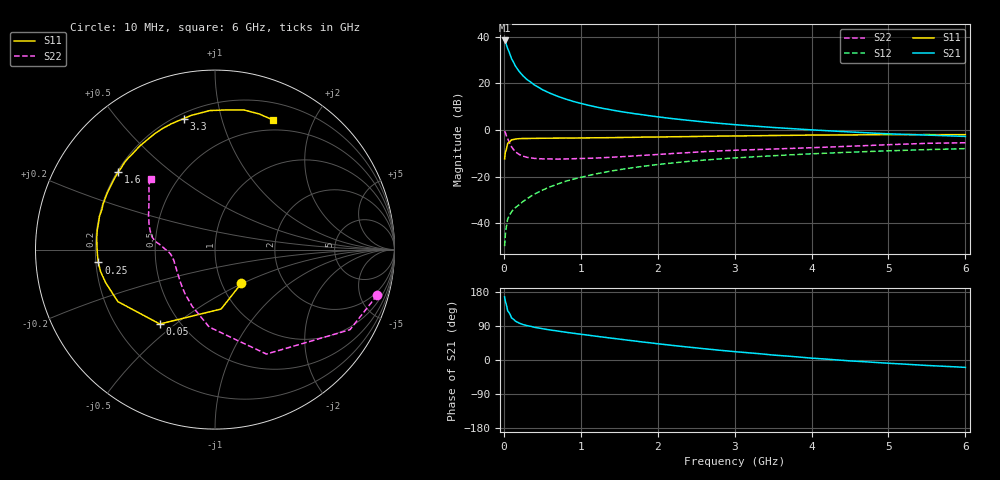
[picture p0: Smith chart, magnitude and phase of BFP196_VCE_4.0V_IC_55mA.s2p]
! Infineon Technologies  Discrete & RF Semiconductors
! BFP196
! VCE =  4.0 V,  IC =  55 mA
! Common Emitter S-Parameters:  Jan 2017
# GHz  S  MA  R  50
!  f  S11  S21  S12  S22
! GHz  MAG  ANG  MAG  ANG  MAG  ANG  MAG  ANG
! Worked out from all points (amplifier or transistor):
!   77 points, 10 MHz to 6 GHz, reference 50 ohm
!   highest |S21| = 38.4 dB at 10 MHz (marker M1)
!   |S21| within 3 dB of that: start of sweep to 44.68 MHz
!   unconditionally stable (mu >= 1): 493.8 MHz to 2.469 GHz
!   at 130 MHz: K = 0.66, MSG = 31.4 dB, |S12| = -34.0 dB
!   at 2.2 GHz: K = 1.01, MAG = 8.9 dB, |S12| = -14.2 dB
!   at 6 GHz: K = 0.96, MSG = 2.6 dB, |S12| = -8.0 dB
!   S11 on the Smith chart (normalised r, x): 10 MHz: 1.24, -0.49; 50 MHz: 0.39, -0.44; 250 MHz: 0.21, -0.05; 1.6 GHz: 0.20, +0.34; 3.3 GHz: 0.23, +0.76; 6 GHz: 0.38, +1.47
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0.01  0.2389 -51.9  83.09 166.5  0.0032 76.0  0.9385 -15.7
0.02  0.3329 -84.2  78.5 154.6  0.0057 75.5  0.8744 -30.7
0.05  0.5162 -126.6  55.62 129.6  0.0122 55.1  0.6485 -63.8
0.1  0.6137 -151.8  33.71 111.0  0.0175 54.1  0.4326 -94.3
0.15  0.6364 -163.1  23.5 102.6  0.0215 56.4  0.3396 -112.1
0.2  0.6491 -169.1  17.91 97.3  0.0249 59.3  0.2972 -124.3
0.25  0.654 -173.7  14.43 93.5  0.0292 61.1  0.2731 -133.0
0.3  0.6554 -176.9  12.08 90.8  0.0331 63.4  0.2583 -139.9
0.4  0.6585 178.0  9.143 86.2  0.0421 65.8  0.2449 -149.2
0.5  0.6623 173.9  7.322 82.6  0.0508 67.1  0.2393 -155.6
0.6  0.6651 170.3  6.133 79.3  0.0602 66.8  0.2386 -160.4
0.7  0.6657 167.1  5.258 76.5  0.0688 67.5  0.2365 -164.0
0.9  0.6684 160.9  4.1 70.7  0.0873 66.1  0.2407 -168.9
1.1  0.6751 155.0  3.38 65.4  0.105 64.4  0.2458 -172.9
1.3  0.6799 149.5  2.874 60.2  0.1225 62.1  0.2538 -175.7
1.6  0.6908 141.4  2.361 52.6  0.1483 58.1  0.27 -179.4
2.1  0.7079 128.4  1.823 40.7  0.1881 51.3  0.3044 175.4
3.1  0.7441 107.2  1.261 20.4  0.2557 37.6  0.3705 165.5
3.3  0.7502 103.5  1.193 17.0  0.2673 35.1  0.3794 162.9
4.1  0.7754 90.7  0.982 3.6  0.3119 25.3  0.4208 151.5
5.1  0.7938 77.0  0.813 -9.7  0.36 13.6  0.4881 138.9
6  0.7912 66.1  0.725 -19.5  0.3968 3.5  0.5301 132.2
